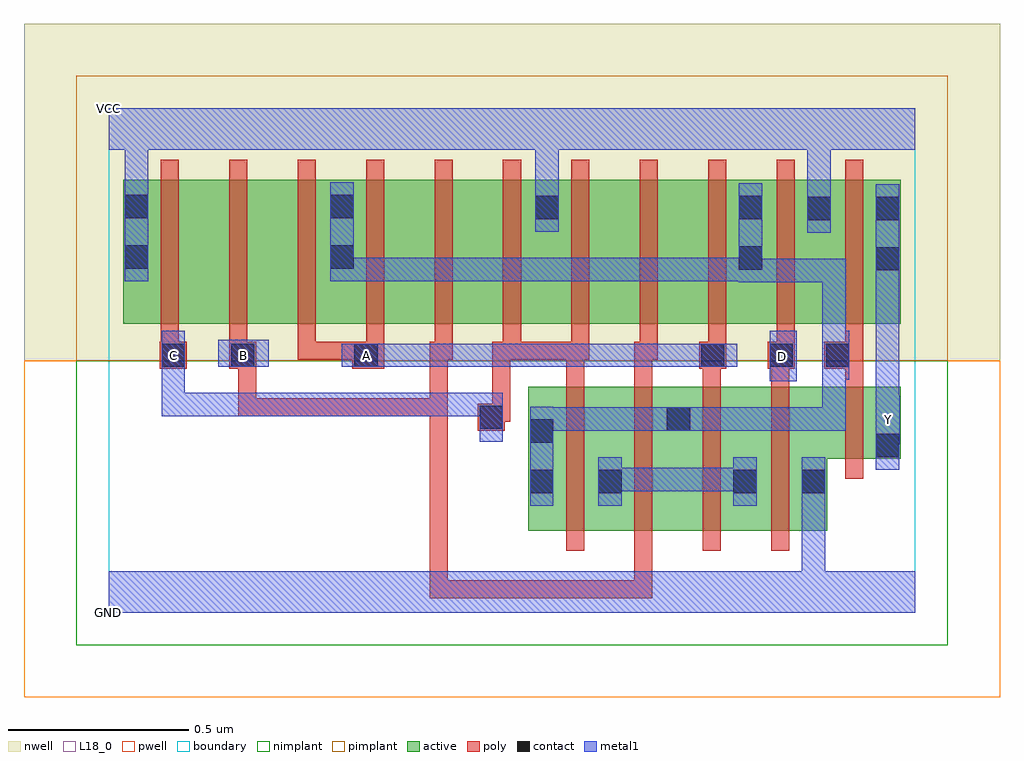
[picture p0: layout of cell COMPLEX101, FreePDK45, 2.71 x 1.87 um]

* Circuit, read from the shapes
.subckt COMPLEX101 A B C D GND VCC Y
M1 n1 C n2 VSUBS nfet w=0.4u l=0.05u
M2 n2 B n1 VSUBS nfet w=0.4u l=0.05u
M3 n1 A n2 VSUBS nfet w=0.4u l=0.05u
M4 GND D n1 VSUBS nfet w=0.4u l=0.05u
M5 Y n2 GND VSUBS nfet w=0.2u l=0.05u
M6 n3 C VCC n4 pfet w=0.4u l=0.05u
M7 n5 B n3 n4 pfet w=0.4u l=0.05u
M8 n2 A n5 n4 pfet w=0.4u l=0.05u
M9 n6 A n2 n4 pfet w=0.4u l=0.05u
M10 n7 B n6 n4 pfet w=0.4u l=0.05u
M11 VCC C n7 n4 pfet w=0.4u l=0.05u
M12 n8 C VCC n4 pfet w=0.4u l=0.05u
M13 n9 B n8 n4 pfet w=0.4u l=0.05u
M14 n2 A n9 n4 pfet w=0.4u l=0.05u
M15 VCC D n2 n4 pfet w=0.4u l=0.05u
M16 Y n2 VCC n4 pfet w=0.4u l=0.05u
.ends

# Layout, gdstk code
import gdstk
lib = gdstk.Library(unit=1e-6, precision=1e-09)
def R(c, l, rs):  # rectangles x0, y0, x1, y1
    for r in rs: c.add(gdstk.rectangle(r[:2], r[2:], *l))
def A(c, l, x, y, w, h, nx, ny, dx, dy):  # array of equal rectangles
    R(c, l, [(x+i*dx, y+j*dy, x+i*dx+w, y+j*dy+h) for i in range(nx) for j in range(ny)])
active = (1, 0)
pwell = (2, 0)
nwell = (3, 0)
nimplant = (4, 0)
pimplant = (5, 0)
poly = (9, 0)
contact = (10, 0)
metal1 = (11, 0)
L18_0 = (18, 0)
boundary = (235, 0)

complex101 = lib.new_cell('COMPLEX101')
A(complex101, active, 0.04, 0.802, 0.225, 0.4, 3, 1, 0.57, 0)
A(complex101, active, 0.265, 0.802, 0.19, 0.4, 3, 1, 0.57, 0)
R(complex101, active, [(1.165,0.227,1.43,0.627), (1.355,0.227,1.62,0.627), (1.545,0.227,1.805,0.627), (1.73,0.227,1.995,0.627), (1.92,0.227,1.995,0.597), (1.165,0.245,1.24,0.627), (1.355,0.245,1.43,0.537), (1.545,0.245,1.62,0.627), (1.73,0.245,1.805,0.492), (1.92,0.427,2.2,0.627), (2.125,0.427,2.2,0.627), (0.04,0.802,0.115,1.165), (0.455,0.802,0.685,1.202), (1.025,0.802,1.255,1.202), (1.595,0.802,1.82,1.202), (1.745,0.802,2.01,1.202), (1.935,0.802,2.2,1.202), (2.125,0.802,2.2,1.165), (0.61,0.907,0.685,1.2), (1.18,0.907,1.255,1.167), (1.745,0.907,1.82,1.2), (1.935,0.907,2.01,1.16)])
R(complex101, pwell, [(-0.235,-0.235,2.475,0.7)])
R(complex101, nwell, [(-0.235,0.7,2.475,1.635)])
R(complex101, nimplant, [(-0.09,-0.09,2.33,0.7)])
R(complex101, pimplant, [(-0.09,0.7,2.33,1.49)])
A(complex101, poly, 1.27, 0.172, 0.05, 0.51, 4, 1, 0.19, 0)
A(complex101, poly, 0.145, 0.702, 0.05, 0.095, 11, 1, 0.19, 0)
A(complex101, poly, 0.145, 0.747, 0.05, 0.51, 11, 1, 0.19, 0)
R(complex101, poly, [(0.892,0.04,0.942,0.09), (0.892,0.04,1.075,0.09), (0.892,0.04,0.942,0.595), (1.025,0.04,1.075,0.09), (1.025,0.04,1.075,0.09), (1.025,0.04,1.075,0.09), (1.025,0.04,1.075,0.09), (1.025,0.04,1.075,0.09), (1.025,0.04,1.277,0.09), (1.227,0.04,1.277,0.09), (1.227,0.04,1.277,0.09), (1.227,0.04,1.277,0.09), (1.227,0.04,1.51,0.09), (1.46,0.04,1.51,0.222), (1.46,0.04,1.51,0.09), (1.46,0.04,1.51,0.09), (1.46,0.04,1.51,0.09), (2.045,0.372,2.095,0.682), (1.025,0.505,1.1,0.58), (1.05,0.53,1.115,0.58), (1.05,0.53,1.1,0.58), (1.065,0.53,1.115,0.752), (0.36,0.545,0.41,0.727), (0.36,0.545,0.41,0.595), (0.36,0.545,0.41,0.595), (0.36,0.545,0.41,0.595), (0.36,0.545,0.542,0.595), (0.492,0.545,0.542,0.595), (0.492,0.545,0.542,0.595), (0.492,0.545,0.542,0.595), (0.492,0.545,0.81,0.595), (0.76,0.545,0.81,0.595), (0.76,0.545,0.81,0.595), (0.76,0.545,0.81,0.595), (0.76,0.545,0.942,0.595), (0.892,0.545,0.942,0.595), (0.892,0.545,0.942,0.595), (0.892,0.545,0.942,0.595), (0.892,0.545,0.942,0.752), (1.27,0.632,1.32,0.752), (1.46,0.632,1.51,0.752), (1.65,0.632,1.7,0.727), (1.84,0.632,1.89,0.727), (2.045,0.632,2.095,0.727), (0.142,0.677,0.217,0.752), (0.335,0.677,0.41,0.752), (0.36,0.677,0.41,0.727), (0.36,0.677,0.41,0.727), (0.677,0.677,0.765,0.752), (1.64,0.677,1.715,0.752), (1.83,0.677,1.905,0.752), (1.987,0.677,2.095,0.752), (0.525,0.702,0.575,0.752), (0.525,0.702,0.575,0.752), (0.525,0.702,0.575,0.752), (0.525,0.702,0.727,0.752), (0.892,0.702,0.942,0.752), (0.892,0.702,0.942,0.752), (0.892,0.702,0.955,0.752), (1.065,0.702,1.145,0.752), (1.095,0.702,1.32,0.752), (1.27,0.702,1.335,0.752), (1.27,0.702,1.32,0.752), (1.27,0.702,1.32,0.752), (1.46,0.702,1.525,0.752)])
R(complex101, contact, [(1.17,0.332,1.235,0.397), (1.36,0.332,1.425,0.397), (1.735,0.332,1.8,0.397), (1.925,0.332,1.99,0.397), (2.13,0.432,2.195,0.497), (1.17,0.472,1.235,0.537), (1.55,0.505,1.615,0.57), (1.03,0.51,1.095,0.575), (0.147,0.682,0.212,0.747), (0.34,0.682,0.405,0.747), (0.682,0.682,0.747,0.747), (1.645,0.682,1.71,0.747), (1.835,0.682,1.9,0.747), (1.992,0.682,2.057,0.747), (2.13,0.95,2.195,1.015), (1.75,0.952,1.815,1.017), (0.045,0.955,0.11,1.02), (0.615,0.955,0.68,1.02), (1.94,1.09,2.005,1.155), (2.13,1.09,2.195,1.155), (1.185,1.092,1.25,1.157), (1.75,1.092,1.815,1.157), (0.045,1.095,0.11,1.16), (0.615,1.095,0.68,1.16)])
R(complex101, metal1, [(0,0,2.24,0.115), (1.925,0.05,1.99,0.115), (1.925,0.05,1.99,0.115), (1.925,0.05,1.99,0.362), (1.17,0.297,1.235,0.572), (1.36,0.297,1.425,0.432), (1.735,0.297,1.8,0.432), (1.925,0.297,1.99,0.432), (1.36,0.337,1.525,0.402), (1.46,0.337,1.525,0.402), (1.46,0.337,1.662,0.402), (1.597,0.337,1.662,0.402), (1.597,0.337,1.662,0.402), (1.597,0.337,1.662,0.402), (1.597,0.337,1.8,0.402), (2.13,0.397,2.195,0.532), (2.13,0.467,2.195,0.532), (2.13,0.467,2.197,0.602), (1.03,0.475,1.095,0.61), (1.17,0.505,1.372,0.57), (1.307,0.505,1.372,0.57), (1.307,0.505,1.372,0.57), (1.307,0.505,1.372,0.57), (1.307,0.505,1.525,0.57), (1.46,0.505,1.525,0.57), (1.46,0.505,1.58,0.57), (1.515,0.505,1.65,0.57), (1.585,0.505,1.677,0.57), (1.612,0.505,1.677,0.57), (1.612,0.505,1.852,0.57), (1.787,0.505,1.852,0.57), (1.787,0.505,1.852,0.57), (1.787,0.505,1.852,0.57), (1.787,0.505,2.047,0.57), (1.982,0.505,2.047,0.57), (1.982,0.505,2.047,0.782), (2.13,0.537,2.195,0.98), (0.147,0.545,0.212,0.61), (0.147,0.545,0.35,0.61), (0.147,0.545,0.212,0.712), (0.285,0.545,0.35,0.61), (0.285,0.545,0.35,0.61), (0.285,0.545,0.35,0.61), (0.285,0.545,0.542,0.61), (0.477,0.545,0.542,0.61), (0.477,0.545,0.68,0.61), (0.615,0.545,0.68,0.61), (0.615,0.545,0.68,0.61), (0.615,0.545,0.68,0.61), (0.615,0.545,0.92,0.61), (0.855,0.545,0.92,0.61), (0.855,0.545,0.92,0.61), (0.855,0.545,0.92,0.61), (0.855,0.545,1.095,0.61), (1.03,0.545,1.095,0.61), (1.03,0.545,1.095,0.61), (1.03,0.545,1.095,0.61), (1.03,0.545,1.095,0.61), (1.835,0.642,1.91,0.782), (0.147,0.647,0.212,0.712), (0.147,0.647,0.212,0.712), (0.147,0.647,0.212,0.782), (1.992,0.647,2.057,0.782), (0.305,0.682,0.445,0.757), (0.647,0.682,0.782,0.747), (0.717,0.682,0.957,0.747), (0.892,0.682,0.957,0.747), (0.892,0.682,0.957,0.747), (0.892,0.682,0.957,0.747), (0.892,0.682,1.097,0.747), (1.032,0.682,1.097,0.747), (1.032,0.682,1.235,0.747), (1.17,0.682,1.235,0.747), (1.17,0.682,1.235,0.747), (1.17,0.682,1.235,0.747), (1.17,0.682,1.372,0.747), (1.307,0.682,1.372,0.747), (1.307,0.682,1.372,0.747), (1.307,0.682,1.372,0.747), (1.307,0.682,1.51,0.747), (1.445,0.682,1.51,0.747), (1.445,0.682,1.662,0.747), (1.597,0.682,1.662,0.747), (1.597,0.682,1.675,0.747), (1.61,0.682,1.745,0.747), (1.982,0.717,2.047,0.782), (1.982,0.717,2.057,0.782), (1.982,0.717,2.047,0.982), (2.13,0.915,2.195,1.19), (1.75,0.917,1.815,1.192), (1.75,0.917,1.815,0.982), (1.75,0.917,1.815,0.982), (1.75,0.917,2.047,0.982), (1.982,0.917,2.047,0.982), (0.045,0.92,0.11,1.195), (0.615,0.92,0.68,1.195), (0.615,0.92,0.68,0.985), (0.615,0.92,0.68,0.985), (0.615,0.92,0.92,0.985), (0.855,0.92,0.92,0.985), (0.855,0.92,0.92,0.985), (0.855,0.92,0.92,0.985), (0.855,0.92,1.097,0.985), (1.032,0.92,1.097,0.985), (1.032,0.92,1.097,0.985), (1.032,0.92,1.097,0.985), (1.032,0.92,1.235,0.985), (1.17,0.92,1.235,0.985), (1.17,0.92,1.372,0.985), (1.307,0.92,1.372,0.985), (1.307,0.92,1.372,0.985), (1.307,0.92,1.372,0.985), (1.307,0.92,1.525,0.985), (1.46,0.92,1.525,0.985), (1.46,0.92,1.662,0.985), (1.597,0.92,1.662,0.985), (1.597,0.92,1.662,0.985), (1.597,0.92,1.662,0.985), (1.597,0.92,1.815,0.985), (1.94,1.055,2.005,1.19), (1.185,1.057,1.25,1.192), (1.94,1.125,2.005,1.35), (1.185,1.127,1.25,1.35), (0.045,1.13,0.11,1.35), (0,1.285,2.24,1.4)])
R(complex101, L18_0, [(0,0,2.24,0.115), (1.925,0.05,1.99,0.115), (1.925,0.05,1.99,0.115), (1.925,0.05,1.99,0.362), (1.925,0.297,1.99,0.432), (2.13,0.397,2.195,0.532), (2.13,0.467,2.195,0.532), (2.13,0.467,2.197,0.602), (1.03,0.475,1.095,0.61), (2.132,0.502,2.197,0.567), (2.13,0.537,2.195,0.98), (0.147,0.545,0.212,0.61), (0.147,0.545,0.212,0.712), (0.147,0.545,0.35,0.61), (0.285,0.545,0.35,0.61), (0.285,0.545,0.35,0.61), (0.285,0.545,0.35,0.61), (0.285,0.545,0.542,0.61), (0.477,0.545,0.542,0.61), (0.477,0.545,0.68,0.61), (0.615,0.545,0.68,0.61), (0.615,0.545,0.68,0.61), (0.615,0.545,0.68,0.61), (0.615,0.545,0.92,0.61), (0.855,0.545,0.92,0.61), (0.855,0.545,0.92,0.61), (0.855,0.545,0.92,0.61), (0.855,0.545,1.095,0.61), (1.03,0.545,1.095,0.61), (1.03,0.545,1.095,0.61), (1.03,0.545,1.095,0.61), (1.03,0.545,1.095,0.61), (1.835,0.642,1.91,0.782), (0.147,0.647,0.212,0.782), (0.147,0.647,0.212,0.712), (0.147,0.647,0.212,0.712), (1.837,0.677,1.902,0.742), (0.147,0.682,0.212,0.747), (0.305,0.682,0.445,0.757), (0.342,0.682,0.407,0.747), (0.647,0.682,0.782,0.747), (0.682,0.682,0.747,0.747), (0.717,0.682,0.957,0.747), (0.892,0.682,0.957,0.747), (0.892,0.682,0.957,0.747), (0.892,0.682,0.957,0.747), (0.892,0.682,1.097,0.747), (1.032,0.682,1.097,0.747), (1.032,0.682,1.235,0.747), (1.17,0.682,1.235,0.747), (1.17,0.682,1.235,0.747), (1.17,0.682,1.235,0.747), (1.17,0.682,1.372,0.747), (1.307,0.682,1.372,0.747), (1.307,0.682,1.372,0.747), (1.307,0.682,1.372,0.747), (1.307,0.682,1.51,0.747), (1.445,0.682,1.51,0.747), (1.445,0.682,1.662,0.747), (1.597,0.682,1.662,0.747), (1.597,0.682,1.675,0.747), (1.61,0.682,1.745,0.747), (2.13,0.915,2.195,1.19), (0.045,0.92,0.11,1.195), (1.94,1.055,2.005,1.19), (1.185,1.057,1.25,1.192), (1.94,1.125,2.005,1.35), (1.185,1.127,1.25,1.35), (0.045,1.13,0.11,1.35), (0,1.285,2.24,1.4)])
R(complex101, boundary, [(0,0,2.24,1.4)])
complex101.add(gdstk.Label('A', (0.715,0.715), layer=11, texttype=0))
complex101.add(gdstk.Label('B', (0.375,0.715), layer=11, texttype=0))
complex101.add(gdstk.Label('C', (0.18,0.715), layer=11, texttype=0))
complex101.add(gdstk.Label('D', (1.87,0.71), layer=11, texttype=0))
complex101.add(gdstk.Label('Y', (2.165,0.535), layer=11, texttype=0))
complex101.add(gdstk.Label('VCC', (0,1.4), layer=11, texttype=0))
complex101.add(gdstk.Label('GND', (0,0), layer=11, texttype=0))

lib.write_gds('COMPLEX101.gds')
